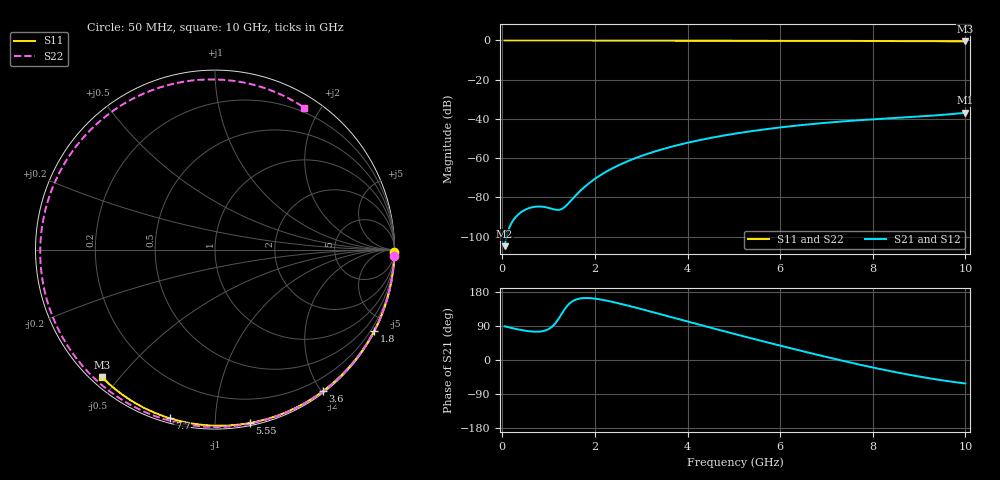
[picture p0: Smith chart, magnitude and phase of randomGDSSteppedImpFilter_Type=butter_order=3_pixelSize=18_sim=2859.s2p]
! freq	dB(S11)	phase(S11)	dB(S12)	phase(S12)
!  dB(S21)	phase(S21)	dB(S22)	phase(S22)
!S-par simulation data
#  GHz  S  DB  R 50
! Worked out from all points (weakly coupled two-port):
!   200 points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, 50 MHz to 10 GHz, reference 50 ohm
!   highest |S21| = -36.84 dB at 10 GHz (marker M1); lowest = -104.8 dB at 50 MHz (marker M2)
!   lowest |S11| = -0.5 dB at 10 GHz (marker M3), VSWR 38.59, Z = 1.56 - j22.5 ohm
!   |S11| at or under -10 dB: nowhere
!   |S22| runs from -0.6 to 0.0 dB; largest |S21 - S12| = 0
!   S11 on the Smith chart (normalised r, x): 50 MHz: open; 1.8 GHz: 0.04, -4.17; 3.6 GHz: 0.02, -2.02; 5.55 GHz: 0.02, -1.22; 7.7 GHz: 0.02, -0.77; 10 GHz: 0.03, -0.45
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0.05  -0.00 -0.8  -104.83 88.9  -104.83 88.9  -0.00 -2.1
0.4  -0.01 -6.1  -87.62 79.3  -87.62 79.3  -0.02 -16.9
0.75  -0.01 -11.3  -84.64 74.7  -84.64 74.7  -0.04 -31.4
1.15  -0.02 -17.3  -86.25 97.5  -86.25 97.5  -0.06 -47.5
1.55  -0.03 -23.3  -79.88 157.3  -79.88 157.3  -0.08 -62.9
1.75  -0.03 -26.2  -75.19 163.4  -75.19 163.4  -0.08 -70.3
1.8  -0.03 -26.9  -74.16 163.6  -74.16 163.6  -0.09 -72.2
2.1  -0.04 -31.3  -68.94 160.1  -68.94 160.1  -0.10 -82.9
2.45  -0.05 -36.4  -64.31 151.4  -64.31 151.4  -0.11 -94.8
2.9  -0.06 -42.8  -59.75 137.6  -59.75 137.6  -0.12 -109.3
3.4  -0.07 -49.9  -55.82 121.4  -55.82 121.4  -0.14 -124.5
3.6  -0.07 -52.7  -54.49 114.8  -54.49 114.8  -0.15 -130.3
4.3  -0.09 -62.3  -50.59 91.8  -50.59 91.8  -0.17 -149.7
5.05  -0.11 -72.2  -47.40 67.6  -47.40 67.6  -0.21 -169.3
5.55  -0.13 -78.7  -45.67 51.8  -45.67 51.8  -0.23 177.9
6.1  -0.15 -85.7  -44.05 34.8  -44.05 34.8  -0.27 164.0
6.7  -0.18 -93.1  -42.57 16.8  -42.57 16.8  -0.30 148.8
7.7  -0.24 -105.1  -40.67 -11.8  -40.67 -11.8  -0.37 122.9
8.35  -0.29 -112.7  -39.69 -28.6  -39.69 -28.6  -0.42 105.3
8.8  -0.33 -117.9  -39.05 -39.3  -39.05 -39.3  -0.45 92.7
9.2  -0.36 -122.4  -38.44 -47.8  -38.44 -47.8  -0.49 81.3
10  -0.45 -131.5  -36.84 -62.0  -36.84 -62.0  -0.59 57.8
